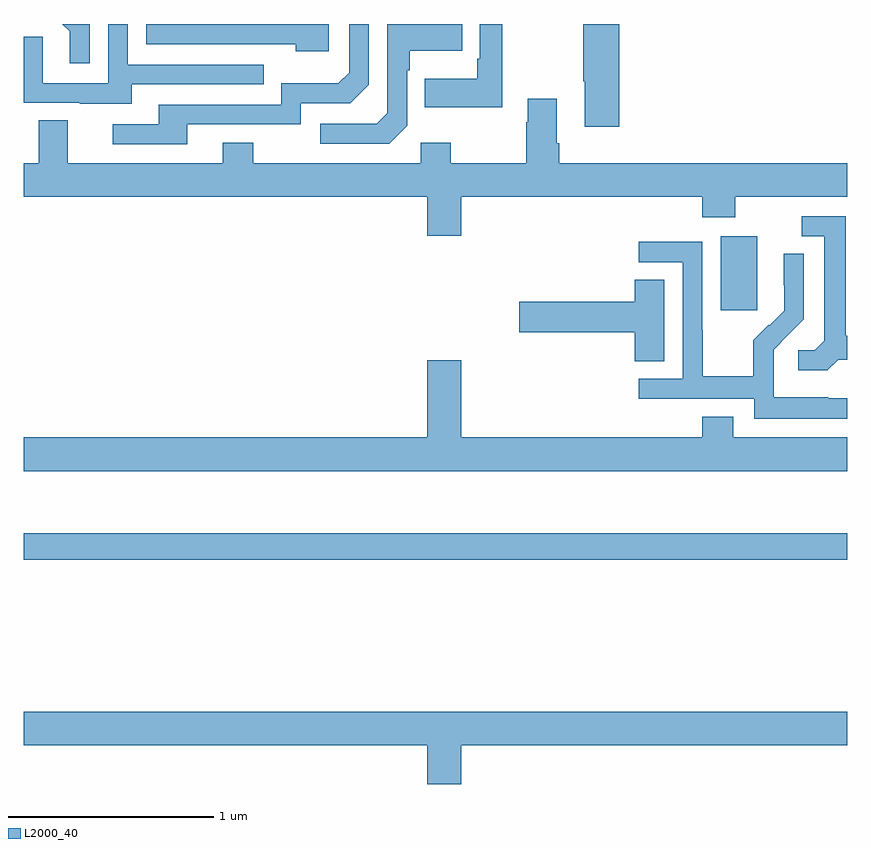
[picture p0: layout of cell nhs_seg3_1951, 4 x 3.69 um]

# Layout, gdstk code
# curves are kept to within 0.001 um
import gdstk
lib = gdstk.Library(unit=1e-6, precision=1e-09)
def R(c, l, rs):  # rectangles x0, y0, x1, y1
    for r in rs: c.add(gdstk.rectangle(r[:2], r[2:], *l))
def P(c, l, *ps):  # polygons
    for p in ps: c.add(gdstk.Polygon(p, *l))
L2000_40 = (2000, 40)

nhs_seg3_1951 = lib.new_cell('nhs_seg3_1951')
R(nhs_seg3_1951, L2000_40, [(211,721.798,215,721.927), (214.385,723.009,214.564,723.37)])
P(nhs_seg3_1951, L2000_40, [(213.893,724.4),(213.718,724.4),(213.718,724.123),(213.725,724.123),(213.725,723.9),(213.893,723.9)],
  [(211.32,724.4),(211.188,724.4),(211.223,724.365),(211.223,724.209),(211.32,724.209)],
  [(212.482,724.398),(211.705,724.398),(211.705,724.4),(211.596,724.4),(211.596,724.302),(212.321,724.302),(212.321,724.268),(212.482,724.268)],
  [(211.525,724.107),(212.165,724.107),(212.165,724.203),(211.506,724.203),(211.506,724.4),(211.41,724.4),(211.41,724.113),(211.092,724.113),(211.092,724.337),(211,724.337),(211,724.017),(211.271,724.017),(211.271,724.013),(211.525,724.013)],
  [(212.862,723.906),(212.862,724.175),(212.875,724.175),(212.875,724.271),(213.131,724.271),(213.131,724.4),(212.766,724.4),(212.766,723.966),(212.715,723.915),(212.439,723.915),(212.439,723.819),(212.775,723.819)],
  [(211.795,723.912),(212.346,723.912),(212.346,724.014),(212.586,724.014),(212.676,724.104),(212.676,724.4),(212.58,724.4),(212.58,724.164),(212.527,724.111),(212.25,724.111),(212.25,724.008),(211.655,724.008),(211.655,723.912),(211.431,723.912),(211.431,723.816),(211.795,723.816)],
  [(213.325,724.4),(213.216,724.4),(213.216,724.231),(213.204,724.231),(213.204,724.135),(212.947,724.135),(212.947,723.995),(213.325,723.995)],
  [(213.124,723.56),(214.295,723.56),(214.295,723.461),(214.455,723.461),(214.455,723.56),(215,723.56),(215,723.724),(213.602,723.724),(213.602,723.82),(213.589,723.82),(213.589,724.036),(213.449,724.036),(213.449,723.923),(213.442,723.923),(213.442,723.724),(213.075,723.724),(213.075,723.823),(212.928,723.823),(212.928,723.724),(212.115,723.724),(212.115,723.823),(211.967,723.823),(211.967,723.724),(211.213,723.724),(211.213,723.932),(211.073,723.932),(211.073,723.724),(211,723.724),(211,723.56),(212.96,723.56),(212.96,723.372),(213.124,723.372)],
  [(214.956,722.769),(215,722.769),(215,722.885),(214.993,722.885),(214.993,723.465),(214.779,723.465),(214.779,723.369),(214.889,723.369),(214.889,722.861),(214.842,722.814),(214.761,722.814),(214.761,722.717),(214.904,722.717)],
  [(215,722.583),(214.907,722.583),(214.907,722.587),(214.644,722.587),(214.644,722.721),(214.642,722.721),(214.642,722.818),(214.788,722.966),(214.788,723.284),(214.692,723.284),(214.692,723.13),(214.694,723.13),(214.694,723.008),(214.623,722.937),(214.62,722.94),(214.543,722.863),(214.543,722.689),(214.299,722.689),(214.299,722.912),(214.296,722.912),(214.296,723.342),(213.987,723.342),(213.987,723.243),(214.2,723.243),(214.2,722.676),(213.987,722.676),(213.987,722.58),(214.548,722.58),(214.548,722.483),(215,722.483)],
  [(214.111,723.158),(213.968,723.158),(213.968,723.05),(213.408,723.05),(213.408,722.903),(213.968,722.903),(213.968,722.761),(214.111,722.761)],
  [(215,722.392),(214.447,722.392),(214.447,722.491),(214.295,722.491),(214.295,722.392),(213.124,722.392),(213.124,722.767),(212.96,722.767),(212.96,722.392),(211,722.392),(211,722.228),(215,722.228)],
  [(213.124,720.896),(215,720.896),(215,721.06),(211,721.06),(211,720.896),(212.96,720.896),(212.96,720.708),(213.124,720.708)])

lib.write_gds('nhs_seg3_1951.gds')
